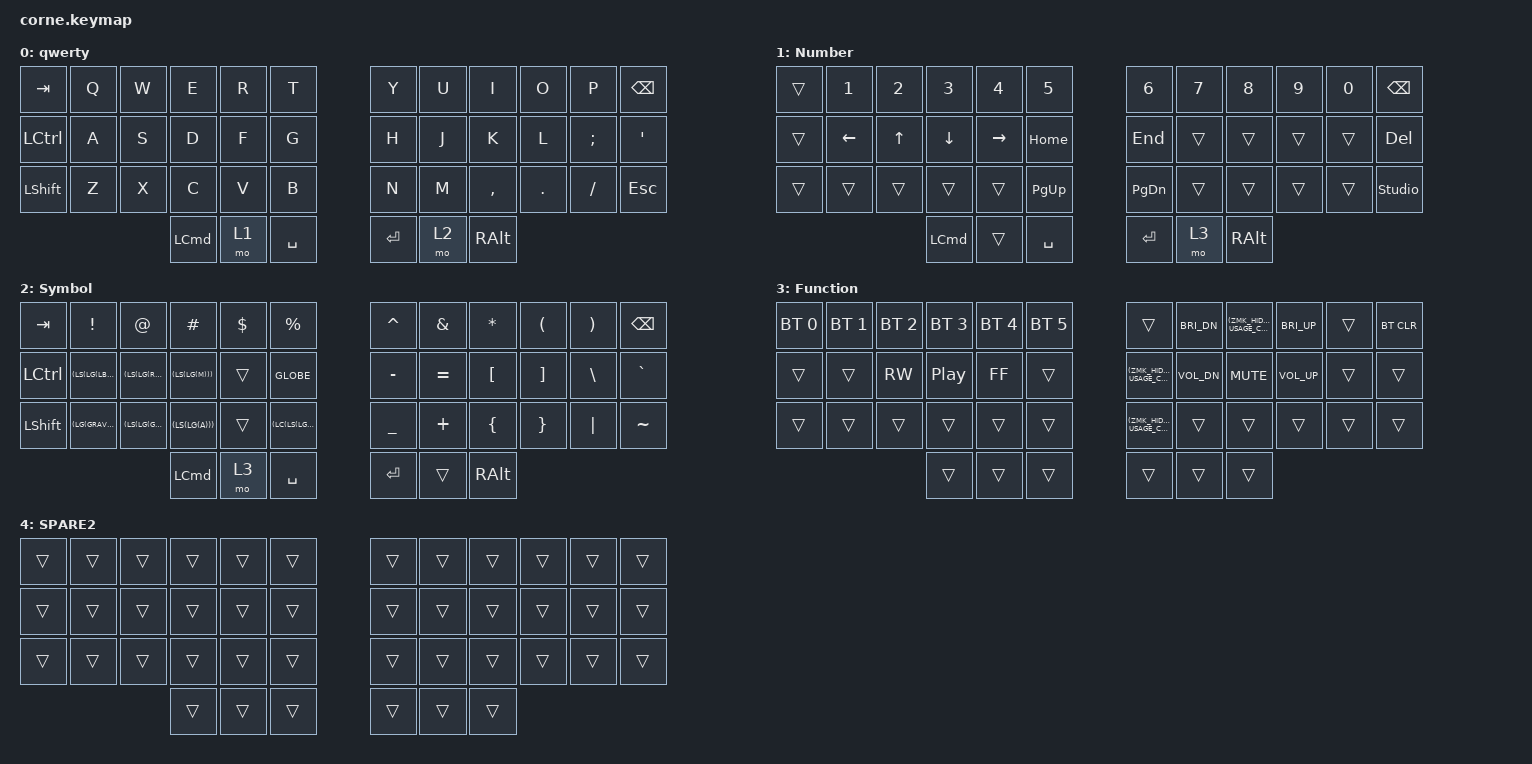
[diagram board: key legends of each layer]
/*
 * GENERATED by kbsync from shared/layout/base.yaml + boards/typeractive-prospector.yaml.
 * Layout: corne-base-fall-26. Edit those files and run `kbsync gen typeractive-prospector`;
 * hand edits here are overwritten.
 */

#include <behaviors.dtsi>
#include <dt-bindings/zmk/keys.h>
#include <dt-bindings/zmk/bt.h>
#include <dt-bindings/zmk/outputs.h>

/ {
    chosen {
        zmk,physical-layout = &foostan_corne_6col_layout;
    };

    conditional_layers {
        compatible = "zmk,conditional-layers";
        tri_layer {
            if-layers = <1 2>;
            then-layer = <3>;
        };
    };

    combos {
        compatible = "zmk,combos";
        combo_esc {
            timeout-ms = <40>;
            key-positions = <19 20>;
            bindings = <&kp ESC>;
        };
        combo_tab {
            timeout-ms = <40>;
            key-positions = <1 2>;
            bindings = <&kp TAB>;
        };
        combo_bspc {
            timeout-ms = <40>;
            key-positions = <9 10>;
            bindings = <&kp BSPC>;
        };
        combo_sqt {
            timeout-ms = <40>;
            key-positions = <21 22>;
            bindings = <&kp SQT>;
        };
    };

    keymap {
        compatible = "zmk,keymap";

        layer_qwerty {
            display-name = "qwerty";
            bindings = <
&kp TAB    &kp Q      &kp W      &kp E      &kp R      &kp T      &kp Y      &kp U      &kp I      &kp O      &kp P      &kp BSPC
&kp LCTRL  &kp A      &kp S      &kp D      &kp F      &kp G      &kp H      &kp J      &kp K      &kp L      &kp SEMI   &kp SQT
&kp LSHFT  &kp Z      &kp X      &kp C      &kp V      &kp B      &kp N      &kp M      &kp COMMA  &kp DOT    &kp FSLH   &kp ESC
                                 &kp LCMD   &mo 1      &kp SPACE  &kp RET    &mo 2      &kp RALT
            >;
        };

        layer_number {
            display-name = "Number";
            bindings = <
&trans          &kp N1          &kp N2          &kp N3          &kp N4          &kp N5          &kp N6          &kp N7          &kp N8          &kp N9          &kp N0          &kp BSPC
&trans          &kp LEFT        &kp UP          &kp DOWN        &kp RIGHT       &kp HOME        &kp END         &trans          &trans          &trans          &trans          &kp DEL
&trans          &trans          &trans          &trans          &trans          &kp PG_UP       &kp PG_DN       &trans          &trans          &trans          &trans          &studio_unlock
                                                &kp LCMD        &trans          &kp SPACE       &kp RET         &mo 3           &kp RALT
            >;
        };

        layer_symbol {
            display-name = "Symbol";
            bindings = <
&kp TAB               &kp EXCL              &kp AT                &kp HASH              &kp DLLR              &kp PRCNT             &kp CARET             &kp AMPS              &kp STAR              &kp LPAR              &kp RPAR              &kp BSPC
&kp LCTRL             &kp (LS(LG(LBKT)))    &kp (LS(LG(RBKT)))    &kp (LS(LG(M)))       &trans                &kp GLOBE             &kp MINUS             &kp EQUAL             &kp LBKT              &kp RBKT              &kp BSLH              &kp GRAVE
&kp LSHFT             &kp (LG(GRAVE))       &kp (LS(LG(GRAVE)))   &kp (LS(LG(A)))       &trans                &kp (LC(LS(LG(N4))))  &kp UNDER             &kp PLUS              &kp LBRC              &kp RBRC              &kp PIPE              &kp TILDE
                                                                  &kp LCMD              &mo 3                 &kp SPACE             &kp RET               &trans                &kp RALT
            >;
        };

        layer_function {
            display-name = "Function";
            bindings = <
&bt BT_SEL 0                                   &bt BT_SEL 1                                   &bt BT_SEL 2                                   &bt BT_SEL 3                                   &bt BT_SEL 4                                   &bt BT_SEL 5                                   &trans                                         &kp C_BRI_DN                                   &kp (ZMK_HID_USAGE(HID_USAGE_CONSUMER, 0x71))  &kp C_BRI_UP                                   &trans                                         &bt BT_CLR
&trans                                         &trans                                         &kp C_RW                                       &kp C_PP                                       &kp C_FF                                       &trans                                         &kp (ZMK_HID_USAGE(HID_USAGE_CONSUMER, 0x04))  &kp C_VOL_DN                                   &kp C_MUTE                                     &kp C_VOL_UP                                   &trans                                         &trans
&trans                                         &trans                                         &trans                                         &trans                                         &trans                                         &trans                                         &kp (ZMK_HID_USAGE(HID_USAGE_CONSUMER, 0xD5))  &trans                                         &trans                                         &trans                                         &trans                                         &trans
                                                                                                                                             &trans                                         &trans                                         &trans                                         &trans                                         &trans                                         &trans
            >;
        };

        layer_spare2 {
            display-name = "SPARE2";
            bindings = <
&trans  &trans  &trans  &trans  &trans  &trans  &trans  &trans  &trans  &trans  &trans  &trans
&trans  &trans  &trans  &trans  &trans  &trans  &trans  &trans  &trans  &trans  &trans  &trans
&trans  &trans  &trans  &trans  &trans  &trans  &trans  &trans  &trans  &trans  &trans  &trans
                        &trans  &trans  &trans  &trans  &trans  &trans
            >;
        };

        layer_reserved_0 {
            display-name = "SPARE1";
            status = "reserved";
            bindings = <&trans &trans &trans &trans &trans &trans &trans &trans &trans &trans &trans &trans &trans &trans &trans &trans &trans &trans &trans &trans &trans &trans &trans &trans &trans &trans &trans &trans &trans &trans &trans &trans &trans &trans &trans &trans &trans &trans &trans &trans &trans &trans>;
        };
    };
};
